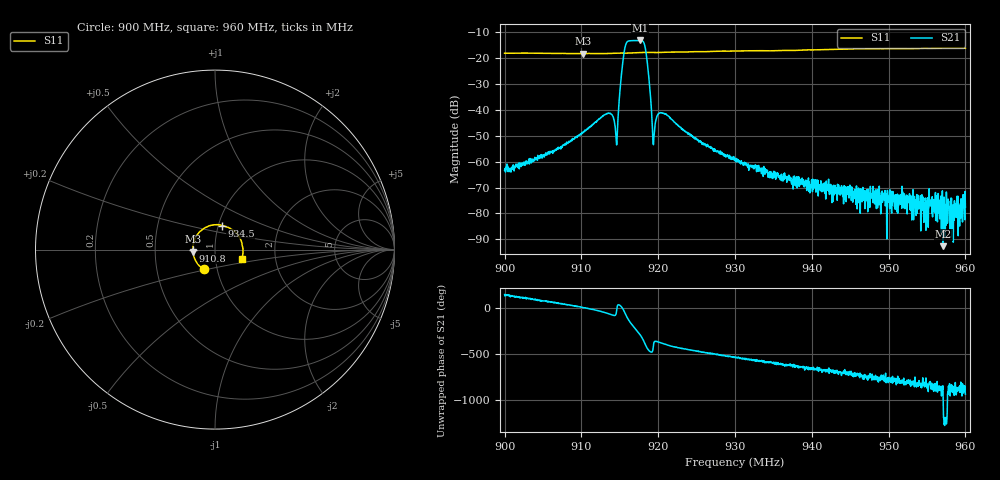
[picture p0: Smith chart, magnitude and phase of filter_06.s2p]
!Agilent Technologies,E5071C,MY46214392,A.11.36
!Date: Thu Feb 26 21:22:10 2026
!Data & Calibration Information:
!Freq	S11:NONE(--)	S21:NONE(--)	S12:NONE(--)	S22:NONE(--)
!PortZ  Port1:50+j0  Port2:50+j0
!Above PortZ is port z conversion or system Z0 setting when saving the data.
!When reading, reference impedance value at option line is always used.
# Hz S dB R 50
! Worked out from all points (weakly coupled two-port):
!   1601 points, 900 MHz to 960 MHz, reference 50 ohm
!   highest |S21| = -13.12 dB at 917.6 MHz (marker M1); lowest = -92.7 dB at 957.1 MHz (marker M2)
!   lowest |S11| = -18.2 dB at 910.2 MHz (marker M3), VSWR 1.28, Z = 39.1 - j0.92 ohm
!   |S11| at or under -10 dB: start of sweep to end of sweep
!   S12 and S22 are empty: the file has one direction only
!   S11 on the Smith chart (normalised r, x): 900 MHz: 0.86, -0.19; 910.8 MHz: 0.78, -0.01; 934.5 MHz: 1.04, +0.28; 960 MHz: 1.34, -0.14
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9e8  -18.07 -119.9  -63.29 149.0  -200.00 0.0  -200.00 0.0
9.100125e8  -18.20 -173.7  -49.03 10.8  -200.00 0.0  -200.00 0.0
9.102e8  -18.22 -174.6  -48.64 7.5  -200.00 0.0  -200.00 0.0
9.108e8  -18.15 -177.7  -47.42 -0.4  -200.00 0.0  -200.00 0.0
9.13575e8  -18.15 168.7  -41.18 -61.9  -200.00 0.0  -200.00 0.0
9.145125e8  -18.06 164.2  -50.71 -60.9  -200.00 0.0  -200.00 0.0
9.14775e8  -18.03 162.8  -42.76 36.6  -200.00 0.0  -200.00 0.0
9.153375e8  -18.01 159.7  -22.87 0.9  -200.00 0.0  -200.00 0.0
9.1575e8  -18.05 157.8  -14.93 -66.3  -200.00 0.0  -200.00 0.0
9.166125e8  -17.92 153.9  -13.19 177.6  -200.00 0.0  -200.00 0.0
9.17625e8  -17.82 148.7  -13.12 72.0  -200.00 0.0  -200.00 0.0
9.18075e8  -17.76 146.2  -13.67 9.0  -200.00 0.0  -200.00 0.0
9.184125e8  -17.77 144.2  -17.75 -52.4  -200.00 0.0  -200.00 0.0
9.1935e8  -17.81 139.8  -53.16 -65.7  -200.00 0.0  -200.00 0.0
9.19575e8  -17.79 138.9  -46.19 -2.2  -200.00 0.0  -200.00 0.0
9.20025e8  -17.78 136.8  -41.58 -9.7  -200.00 0.0  -200.00 0.0
9.3e8  -17.20 92.6  -58.94 -173.0  -200.00 0.0  -200.00 0.0
9.344625e8  -17.13 74.7  -64.43 136.0  -200.00 0.0  -200.00 0.0
9.400125e8  -16.77 54.8  -69.21 62.7  -200.00 0.0  -200.00 0.0
9.50025e8  -16.25 17.9  -75.60 -34.4  -200.00 0.0  -200.00 0.0
9.571125e8  -16.10 -7.7  -92.66 56.6  -200.00 0.0  -200.00 0.0
9.6e8  -16.11 -19.2  -77.61 141.9  -200.00 0.0  -200.00 0.0
